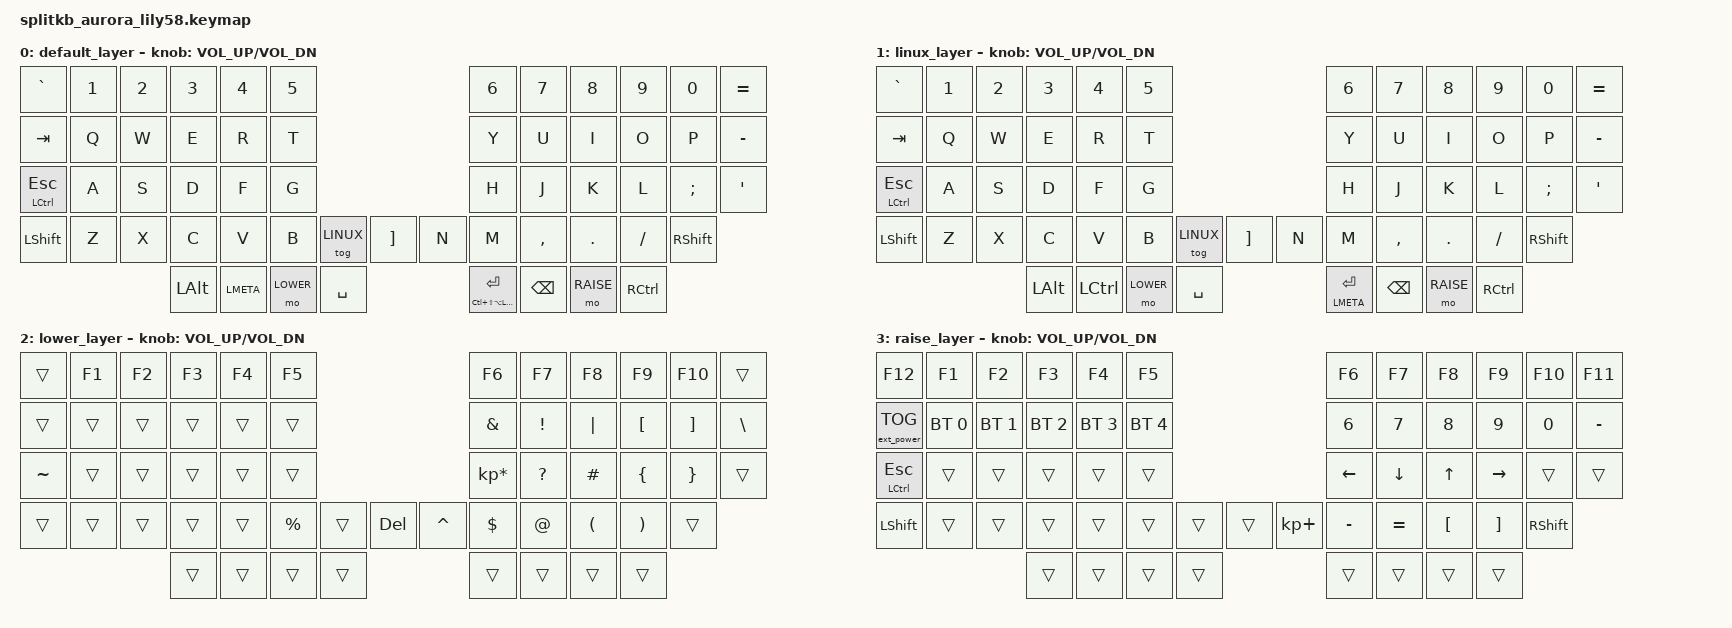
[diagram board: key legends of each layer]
/*
 * Copyright (c) 2020 The ZMK Contributors
 *
 * SPDX-License-Identifier: MIT
 */

#include <behaviors.dtsi>
#include <dt-bindings/zmk/keys.h>
#include <dt-bindings/zmk/bt.h>
#include <dt-bindings/zmk/ext_power.h>

#define DEFAULT 0
#define LINUX   1
#define LOWER   2
#define RAISE   3

/ {
    // Combo keys are a way to combine multiple keypresses to output a different key.
    combos {
        compatible = "zmk,combos";

        combo_clear_bluetooth {
            timeout-ms = <50>; // Press all the below keys within 50ms to activate mapping
            key-positions = <52 42 0>; // Press 52=LOWER, 42=[, 0=tilde
            bindings = <&bt BT_CLR>; // activate clear bluetooth bindings for current channel
        };
    };

    keymap {
        compatible = "zmk,keymap";

        default_layer {
            // ------------------------------------------------------------------------------------------------------------
            // |   `      |  1  |  2  |  3   |  4   |  5   |                   |  6   |  7    |  8    |  9   |   0   |   -   |
            // |  TAB     |  Q  |  W  |  E   |  R   |  T   |                   |  Y   |  U    |  I    |  O   |   P   |   =   |
            // |hCTRL tESC|  A  |  S  |  D   |  F   |  G   |                   |  H   |  J    |  K    |  L   |   ;   |   '   |
            // | SHIFT    |  Z  |  X  |  C   |  V   |  B   |   "["  |  |  "]"  |  N   |  M    |  ,    |  .   |   /   | SHIFT |
            //                        | ALT  | GUI  | LOWER|  SPACE |  | BSPC  | ENTER| RAISE | CTRL  |

            bindings = <
      &kp GRAVE        &kp N1  &kp N2    &kp N3     &kp N4    &kp N5                                                     &kp N6    &kp N7     &kp N8    &kp N9    &kp N0    &kp EQUAL
      &kp TAB          &kp Q   &kp W     &kp E      &kp R     &kp T                                                      &kp Y     &kp U      &kp I     &kp O     &kp P     &kp MINUS
      &mt LCTRL ESC    &kp A   &kp S     &kp D      &kp F     &kp G                                                      &kp H     &kp J      &kp K     &kp L     &kp SEMI  &kp SQT
      &kp LSHFT        &kp Z   &kp X     &kp C      &kp V     &kp B  &tog LINUX &kp RBKT                   &kp N     &kp M      &kp COMMA &kp DOT   &kp FSLH  &kp RSHFT
                                         &kp LALT   &kp LMETA &mo LOWER  &kp SPACE                &mt LC(LS(LA(LGUI))) RET   &kp BSPC  &mo RAISE      &kp RCTRL
            >;

            sensor-bindings = <&inc_dec_kp C_VOL_UP C_VOL_DN>;
        };

        linux_layer {
            // ------------------------------------------------------------------------------------------------------------
            // |   `      |  1  |  2  |  3   |  4   |  5   |                   |  6   |  7    |  8    |  9   |   0   |   -   |
            // |  TAB     |  Q  |  W  |  E   |  R   |  T   |                   |  Y   |  U    |  I    |  O   |   P   |   =   |
            // |hCTRL tESC|  A  |  S  |  D   |  F   |  G   |                   |  H   |  J    |  K    |  L   |   ;   |   '   |
            // | SHIFT    |  Z  |  X  |  C   |  V   |  B   |   "["  |  |  "]"  |  N   |  M    |  ,    |  .   |   /   | SHIFT |
            //                        | ALT  | GUI  | LOWER|  SPACE |  | BSPC  | ENTER| RAISE | CTRL  |

            bindings = <
      &kp GRAVE        &kp N1  &kp N2    &kp N3     &kp N4    &kp N5                                            &kp N6    &kp N7     &kp N8    &kp N9    &kp N0    &kp EQUAL
      &kp TAB          &kp Q   &kp W     &kp E      &kp R     &kp T                                             &kp Y     &kp U      &kp I     &kp O     &kp P     &kp MINUS
      &mt LCTRL ESC    &kp A   &kp S     &kp D      &kp F     &kp G                                             &kp H     &kp J      &kp K     &kp L     &kp SEMI  &kp SQT
      &kp LSHFT        &kp Z   &kp X     &kp C      &kp V     &kp B  &tog LINUX &kp RBKT    &kp N     &kp M      &kp COMMA &kp DOT   &kp FSLH  &kp RSHFT
                                         &kp LALT   &kp LCTRL &mo LOWER  &kp SPACE                  &mt LMETA RET   &kp BSPC  &mo RAISE      &kp RCTRL
            >;

            sensor-bindings = <&inc_dec_kp C_VOL_UP C_VOL_DN>;
        };

        lower_layer {
            // ------------------------------------------------------------------------------------------------------------
            // | EXT PWR TOGGLE | BT1     | BT2    |  BT3 |  BT4  |  BT5 |                    |      |       |       |      |       |       |
            // |                |         |        |      |       |      |                    |      |       |       |      |       |   \   |
            // |   ~            |  !      |  @     |  #   |  $    |  %   |                    |  ^   |  &    |  *    |  (   |   )   |   _   |
            // | SHIFT          |  EP_ON  | EP_OFF |      |  (    |  {   |       |  |   DEL   |  }   |  )    |  +    |  {   |   }   | SHIFT |
            //                                     |      |       |      |       |  |         |      |       |       |
            bindings = <
    &trans     &kp F1  &kp F2  &kp F3  &kp F4  &kp F5                         &kp F6          &kp F7       &kp F8       &kp F9               &kp F10              &trans
    &trans     &trans  &trans  &trans  &trans  &trans                         &kp AMPS        &kp EXCL     &kp PIPE     &kp LEFT_BRACKET     &kp RIGHT_BRACKET    &kp BSLH
    &kp TILDE  &trans  &trans  &trans  &trans  &trans                         &kp KP_MULTIPLY &kp QUESTION &kp HASH     &kp LBRC             &kp RBRC             &trans
    &trans     &trans  &trans  &trans  &trans  &kp PRCNT  &trans    &kp DEL   &kp CARET       &kp DOLLAR   &kp AT       &kp LPAR             &kp RPAR             &trans
                               &trans  &trans  &trans     &trans    &trans    &trans          &trans       &trans
            >;

            sensor-bindings = <&inc_dec_kp C_VOL_UP C_VOL_DN>;
        };

        raise_layer {
            // ------------------------------------------------------------------------------------------------------------
            // |  F12    |  F1 |  F2 |  F3  |  F4  |  F5  |                   |  F6  |   F7  |   F8  |  F9  |  F10  |  F11  |
            // |   `     |  1  |  2  |  3   |  4   |  5   |                   |  6   |   7   |   8   |  9   |   0   |   -   |
            // |CTRL/ESC |     |     |      |      |      |                   |  <-  |   ^   |   v   |  ->  |       |       |
            // | SHIFT   |     |     |      |      |      |        |  |       |  +   |   -   |   =   |  [   |   ]   |   \   |
            //                       |      |      |      |        |  |       |      |       |       |

            bindings = <
      &kp F12  &kp F1  &kp F2  &kp F3  &kp F4  &kp F5                   &kp F6       &kp F7     &kp F8     &kp F9    &kp F10   &kp F11
    &ext_power EP_TOG &bt BT_SEL 0  &bt BT_SEL 1  &bt BT_SEL 2  &bt BT_SEL 3  &bt BT_SEL 4                    &kp N6       &kp N7     &kp N8     &kp N9    &kp N0    &kp MINUS
&mt LCTRL ESC  &trans  &trans  &trans  &trans  &trans                   &kp LEFT     &kp DOWN   &kp UP     &kp RIGHT &trans    &trans
   &kp LSHIFT  &trans  &trans  &trans  &trans  &trans  &trans  &trans   &kp KP_PLUS  &kp MINUS  &kp EQUAL  &kp LBKT  &kp RBKT  &kp RIGHT_SHIFT
                               &trans  &trans  &trans  &trans  &trans   &trans       &trans     &trans
            >;

            sensor-bindings = <&inc_dec_kp C_VOL_UP C_VOL_DN>;
        };

    };
};
